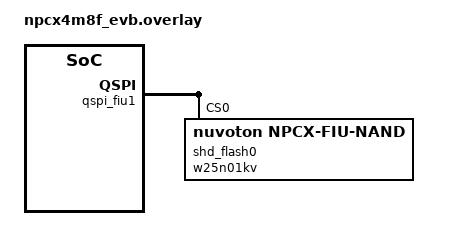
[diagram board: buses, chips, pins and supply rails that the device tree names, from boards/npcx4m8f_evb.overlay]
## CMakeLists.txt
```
# SPDX-License-Identifier: Apache-2.0

cmake_minimum_required(VERSION 3.13.1)

find_package(Zephyr REQUIRED HINTS $ENV{ZEPHYR_BASE})
project(npcx_tests)

target_sources(app PRIVATE src/main.c)
```

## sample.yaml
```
sample:
  description: DMA test suite sample, the simplest Zephyr
    application
  name: DMA
common:
    tags: introduction
    integration_platforms:
      - npcx4m8f_evb
    harness: console
    harness_config:
      type: one_line
      regex:
        - "Hello World! (.*)"
```

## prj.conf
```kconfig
CONFIG_SERIAL=y
CONFIG_NATIVE_UART_0_ON_STDINOUT=y
CONFIG_UART_INTERRUPT_DRIVEN=y
CONFIG_PRINTK=y
CONFIG_SHELL=y
CONFIG_SHELL_PROMPT_UART="ec:~$ "
CONFIG_LOG=y
CONFIG_EVENTS=y
CONFIG_DMA=y
```

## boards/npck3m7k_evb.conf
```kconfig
# Add your own Kconfig option for npck3m7k_evb here
CONFIG_SERIAL=y
CONFIG_NATIVE_UART_0_ON_STDINOUT=y
CONFIG_PRINTK=y
CONFIG_UART_INTERRUPT_DRIVEN=y
CONFIG_SHELL=y
CONFIG_SHELL_PROMPT_UART="ec:~$ "
CONFIG_LOG=y
CONFIG_DMA=y
```

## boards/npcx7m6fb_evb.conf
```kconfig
# Add your own Kconfig option for npcx4m8f_evb here
CONFIG_SERIAL=y
CONFIG_NATIVE_UART_0_ON_STDINOUT=y
CONFIG_PRINTK=y
CONFIG_UART_INTERRUPT_DRIVEN=y
CONFIG_SHELL=y
CONFIG_SHELL_PROMPT_UART="ec:~$ "
CONFIG_LOG=y
CONFIG_DMA=y
```

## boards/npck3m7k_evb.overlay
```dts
/*
 * Copyright (c) 2023 Nuvoton Technology Corporation.
 *
 * SPDX-License-Identifier: Apache-2.0
 */

/ {
	chosen {
		zephyr,shell-uart = &uart1;
	};

	aliases {
		/* For samples/drivers/spi_flash */
		taf-flash = &shd_flash;
	};
};


&dma0 {
	status = "okay";
};
```

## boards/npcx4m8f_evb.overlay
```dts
/*
 * Copyright (c) 2023 Nuvoton Technology Corporation.
 *
 * SPDX-License-Identifier: Apache-2.0
 */

/ {
	chosen {
		zephyr,shell-uart = &uart1;
	};

	aliases {
		/* For samples/drivers/spi_flash */
		flash-dev = &shd_flash0;
	};
};

/* Add nand flash */
&qspi_fiu1 {
	status = "okay";
	en-direct-access-2dev;

	shd_flash0: w25n01kv@0 {
		compatible ="nuvoton,npcx-fiu-nand";
		size = <0x40000000>; /* 1G bits = 128 Mbytes */
		max-timeout = <86784>;
		reg = <0>;

		status = "okay";

		/* quad spi bus configuration of nor flash device */
		qspi-flags = <(NPCX_QSPI_SW_CS0 | NPCX_QSPI_SEC_FLASH_SL)>;
		mapped-addr = <0x68000000>;
		pinctrl-0 = <&fiu_ext_io0_io1_clk_cs_gpa4_96_a2_a0
			     &fiu_ext_quad_io2_io3_gp93_a7
			     &ext_flash_tris_off
				 &ext_flash_cs1_sl>;
		pinctrl-names = "default";

		/* Read,Write mode */
		read-mode  = "QUAD_IO";
		write-mode = "QUAD_OUTPUT";
		en-dra;

		/* nand flash information */
		page-size = <0x800>;    /* 1 page = 2048 bytes*/
		page-num = <0x10000>;
		block-size = <0x20000>; /* 1 block = 64 pages = 128K */
		block-num = <0x400>;

	};
};

&dma0 {
	status = "okay";
};

&dma1 {
	status = "okay";
};
```

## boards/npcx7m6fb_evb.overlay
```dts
/*
 * Copyright (c) 2023 Nuvoton Technology Corporation.
 *
 * SPDX-License-Identifier: Apache-2.0
 */

/ {
	chosen {
		zephyr,shell-uart = &uart1;
	};

	aliases {
		/* For samples/drivers/spi_flash */
		spi-flash0 = &int_flash;
		spi-flash1 = &ext_flash;
	};
};

&qspi_fiu0 {
	status = "okay";

	ext_flash: w25q256f@1 {
		compatible ="nuvoton,npcx-fiu-nor";
		/* 4194304 bits = 512K Bytes */
		size = <0x400000>;
		reg = <1>;
		status = "okay";

		/* quad spi bus configuration of nor flash device */
		qspi-flags = <NPCX_QSPI_SW_CS1>;
		mapped-addr = <0x64000000>;
		pinctrl-0 = <&fiu_ext_io0_io1_clk_cs_gpa4_96_a2_a0
			     &ext_flash_tris_off>;
		pinctrl-names = "default";
	};
};

&dma0 {
	status = "okay";
};
```

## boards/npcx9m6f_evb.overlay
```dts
/*
 * Copyright (c) 2023 Nuvoton Technology Corporation.
 *
 * SPDX-License-Identifier: Apache-2.0
 */

/ {
	chosen {
		zephyr,shell-uart = &uart1;
	};

	aliases {
		/* For samples/drivers/spi_flash */
		spi-flash0 = &int_flash;
		spi-flash1 = &ext_flash;
	};
};

&qspi_fiu0 {
	status = "okay";

	ext_flash: w25q256f@1 {
		compatible ="nuvoton,npcx-fiu-nor";
		/* 4194304 bits = 512K Bytes */
		size = <0x400000>;
		reg = <1>;
		status = "okay";

		/* quad spi bus configuration of nor flash device */
		qspi-flags = <NPCX_QSPI_SW_CS1>;
		mapped-addr = <0x64000000>;
		pinctrl-0 = <&fiu_ext_io0_io1_clk_cs_gpa4_96_a2_a0
			     &ext_flash_tris_off>;
		pinctrl-names = "default";
	};
};

&dma0 {
	dma: dma@40011000 {
		compatible = "nuvoton,npcx-dma";
		reg = <0x40011000 0x1000>;

		mapped-addr = <0x68000000>;

		#dma-cells = <1>;
		#address-cells = <1>;
		#size-cells = <0>;
		status = "okay";
	};
};
```

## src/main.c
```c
/*
 * Copyright (c) 2023 Nuvoton Technology Corporation.
 *
 * SPDX-License-Identifier: Apache-2.0
 */
#include <stdlib.h>
#include <zephyr/device.h>
#include <zephyr/drivers/dma.h>
#include <zephyr/../../drivers/dma/dma_npcx.h>
#include <zephyr/kernel.h>
#include <zephyr/shell/shell.h>

#define LOG_LEVEL LOG_LEVEL_INF
#include <zephyr/logging/log.h>
LOG_MODULE_REGISTER(main);

#define MAX_ARGUMNETS	3
#define MAX_ARGU_SIZE	10
#define TRANSFER_SIZE	1024

#define TASK_STACK_SIZE	1024
#define PRIORITY	7

#define DMA0_CTLER			DT_NODELABEL(dma0)
#ifdef CONFIG_SOC_SERIES_NPCX4
#define DMA1_CTLER			DT_NODELABEL(dma1)
#endif

static uint8_t arguments[MAX_ARGUMNETS][MAX_ARGU_SIZE];
struct k_event dma_event;
static struct k_thread temp_id;

K_THREAD_STACK_DEFINE(temp_stack, TASK_STACK_SIZE);

const struct shell *sh_ptr;

/* Get device from device tree */
static const struct device *const dma_devices[] = {
	DEVICE_DT_GET(DMA0_CTLER),
	#ifdef CONFIG_SOC_SERIES_NPCX4
	DEVICE_DT_GET(DMA1_CTLER),
	#endif
};

#define NUM_DMA_DEVICE ARRAY_SIZE(dma_devices)
#define MRAM				0x100B0000	/* buttom of code ram */
#ifdef CONFIG_SOC_SERIES_NPCK3
	#define	INT_FLASH_BASE1_ADDR	0x60000000	/* private flash */
	#define	FLASH_BASE1_ADDR	0x70000000	/* shared flash */
	#define BACKUP_FLASH_BASE1_ADDR 0x80000000	/* Back-up flash */
#elif CONFIG_SOC_SERIES_NPCX4
	#define INT_FLASH_BASE1_ADDR	0x60000000	/* private flash */
	#define FLASH_BASE1_ADDR	0x68000000	/* external flash */
#endif

/* data transfer config */
static const uint8_t align_val = 16;
static struct device *dev;
static uint8_t ch;
static struct dma_config dma_cfg = { 0 };
static struct dma_block_config dma_block_cfg = { 0 };
static struct dma_config dma_cfg1 = { 0 };
static struct dma_block_config dma_block_cfg1 = { 0 };

/* mem to mem config */
static uint8_t GDMAMemPool[MOVE_SIZE + 4] __aligned(16);
/* power save config */
static uint8_t GDMAMemPool2[MOVE_SIZE + 4] __aligned(16);
static uint8_t passFlag;

/* flash to mem config */
static uint32_t gdma_test_flash_src[] = {
	INT_FLASH_BASE1_ADDR,
	FLASH_BASE1_ADDR,
	#ifdef CONFIG_SOC_SERIES_NPCK3
	BACKUP_FLASH_BASE1_ADDR
	#endif
};
/* gdmaerr config */
#define INVALID_ADDR	0x10050000

/* isr event */
static uint32_t gdma_data_check(const struct device *dev, const uint8_t channel)
{
	struct dma_reg *const inst = HAL_INSTANCE(dev, channel);
	uint8_t tws = GET_FIELD(inst->CONTROL, NPCX_DMACTL_TWS);
	uint8_t bme = GET_BIT(inst->CONTROL, NPCX_DMACTL_BME);
	uint8_t dadir = GET_BIT(inst->CONTROL, NPCX_DMACTL_DADIR);
	uint8_t sadir = GET_BIT(inst->CONTROL, NPCX_DMACTL_SADIR);
	uint32_t tcnt = inst->TCNT;
	uint32_t src_ = inst->SRCB;
	uint32_t dst_ = inst->DSTB;
	uint32_t ctcnt = inst->CTCNT;
	volatile uint8_t *dst_B, *src_B;
	volatile uint16_t *dst_W, *src_W;
	volatile uint32_t *dst_DW, *src_DW;

	dst_B = (uint8_t *) dst_;
	src_B = (uint8_t *) src_;
	dst_W = (uint16_t *) dst_;
	src_W = (uint16_t *) src_;
	dst_DW = (uint32_t *) dst_;
	src_DW = (uint32_t *) src_;

	if (IS_BIT_SET(inst->CONTROL, NPCX_DMACTL_TC)) {
		LOG_INF("[FAIL][GDMA] ch%d GDMA TC couldn't clear\r\n", channel);
	}
	if (IS_BIT_SET(inst->CONTROL, NPCX_DMACTL_GDMAEN)) {
		LOG_INF("[FAIL][GDMA] ch%d GDMA EN is Enable\r\n", channel);
	}
	if (ctcnt) {
		LOG_INF("[FAIL][GDMA] ch%d CTCNT not completed \r\n", channel);
	}

	if (bme) {
		tcnt <<= 2;
	}
	switch (tws) {
	case 0:
		LOG_INF("Byte mode | ");
		LOG_INF("src | %p: %hhx dst | %p: %hhx \r\n",
			(void *)src_B, *src_B, (void *)dst_B, *dst_B);
		do {
			if (*dst_B != *src_B) {
				break;
			}
			if (dadir)
				dst_B -= 1;
			else
				dst_B += 1;
			if (sadir)
				src_B -= 1;
			else
				src_B += 1;
			tcnt--;
		} while (tcnt != 0);
		break;
	case 1:
		LOG_INF("Word mode | ");
		LOG_INF("src | %p: %hx dst | %p: %hx \r\n",
			(void *)src_W, *src_W, (void *)dst_W, *dst_W);
		do {
			if (*dst_W != *src_W) {
				break;
			}
			if (dadir)
				dst_W -= 1;
			else
				dst_W += 1;
			if (sadir)
				src_W -= 1;
			else
				src_W += 1;
			tcnt--;
		} while (tcnt != 0);
		break;
	case 2:
		if (bme) {
			LOG_INF("Double Word mode | Burst Mode");
		} else {
			LOG_INF("Double Word mode | Normal Mode");
		}
		LOG_INF("src %p: %x | dst %p: %x \r\n",
		(void *)src_DW, *src_DW, (void *)dst_DW, *dst_DW);
		do {
			if (*dst_DW != *src_DW) {
				break;
			}
			if (dadir)
				dst_DW -= 1;
			else
				dst_DW += 1;
			if (sadir)
				src_DW -= 1;
			else
				src_DW += 1;
			tcnt--;
		} while (tcnt != 0);
		break;
	}
	return tcnt;
}

static void cb_data_check(const struct device *dma_dev, void *arg,
				uint32_t channel, int status)
{
	if (status < 0) {
		LOG_INF("DMA could not proceed, an error occurred\n");
	}
	LOG_INF("channel : %d", channel);

	if (gdma_data_check(dma_dev, channel)) {
		LOG_INF("[FAIL] Data check");
	} else {
		LOG_INF("[PASS] Data check");
	}
}

static void cb_power_save(const struct device *dma_dev, void *arg,
				uint32_t channel, int status)
{
	if (status < 0) {
		LOG_INF("DMA could not proceed, an error occurred\n");
	}
	LOG_INF("channel : %d", channel);
	struct dma_reg *const inst = HAL_INSTANCE(dma_dev, channel);

	passFlag |= (GET_BIT(inst->CONTROL, NPCX_DMACTL_TC) == 0) << 1;
	if (passFlag == 0b11) {
		LOG_INF("[PASS][GDMA]: ch-%d Power save successful.", channel);
	} else {
		LOG_INF("[FAIL][GDMA]: ch-%d power save failed.", channel);
	}
}
#ifdef CONFIG_SOC_SERIES_NPCK3
static void cb_gdmaerr(const struct device *dma_dev, void *arg,
				uint32_t channel, int status)
{
	if (status < 0) {
		LOG_INF("DMA could not proceed, an error occurred\n");
	}
	if (status == -EIO) {
		LOG_INF("[PASS][GDMA]: channel %d GDMAERR test", channel);
	} else {
		LOG_INF("[FAIL][GDMA]: channel %d GDMAERR test", channel);
	}
}

static void dma_gdmaerr(const struct shell *shell, size_t argc, char **argv)
{
	/* Minimal setting for DMA api */
	dma_cfg.channel_direction = MEMORY_TO_MEMORY;
	dma_cfg.source_data_size = dma_cfg.dest_data_size = 1;
	dma_block_cfg.block_size = MOVE_SIZE;
	dma_block_cfg.source_address = INVALID_ADDR;
	dma_block_cfg.dest_address = MRAM;

	/* isr event */
	dma_cfg.dma_callback = cb_gdmaerr;
	dma_cfg.head_block = &dma_block_cfg;

	if (dma_config(dev, ch, &dma_cfg)) {
		LOG_INF("ERROR: configure\n");
		return;
	}
	if (dma_start(dev, ch)) {
		LOG_INF("ERROR: transfer\n");
		return;
	}
}
#endif

static void check_char_data(const char *tx_d, const char *rx_d, bool enable)
{
	if (strcmp(tx_d, rx_d) != 0) {
		LOG_INF("[FAIL] Data transfer");
	} else {
		LOG_INF("[PASS] Data transfer");
	}
	if (enable) {
		shell_info(sh_ptr, "rx_data : %s", rx_d);
	}
}

static void check_def_value(const struct shell *shell, size_t argc, char **argv)
{
	const uint32_t dma_base = get_dev_base(dev);

	if (DMA_CTL(dma_base, ch) != 0x00
	#ifdef CONFIG_SOC_SERIES_NPCK3
		|| IS_BIT_SET(DMA_CTL(dma_base, ch), NPCX_DMACTL_GDMAERR)
		|| IS_BIT_SET(DMA_CTL(dma_base, ch), NPCX_DMACTL_BUSY_EN)
	#elif CONFIG_SOC_SERIES_NPCX4
		|| IS_BIT_SET(DMA_CTL(dma_base, ch), NPCX_DMACTL_BMDAFIX)
		|| IS_BIT_SET(DMA_CTL(dma_base, ch), NPCX_DMACTL_BMSAFIX)
	#endif
	){
		LOG_INF("[FAIL]Default value");
	} else {
		LOG_INF("[PASS]Default value");
	}
}
static void dma_init(char *dev_num, char *ch_num)
{
	uint8_t dev_n = atoi(dev_num);
	uint8_t ch_n = atoi(ch_num);
	#ifdef CONFIG_SOC_SERIES_NPCX4
	if (dev_n < 2) {
		dev = (void *)dma_devices[dev_n];
	} else {
		LOG_ERR("Only device 0/1 available");
	}
	#else
	if (dev_n == 0) {
		dev = (void *)dma_devices[dev_n];
	} else {
		LOG_ERR("Only device 0 available");
	}
	#endif
	if (ch_n < 2) {
		ch = ch_n;
	} else {
		LOG_ERR("Only channel 0/1 available");
	}
}



int *npcx_power_down_gpd(const struct device *dev, const uint32_t channel,
					uint32_t val0, uint32_t val1)
{
	static int arr[2] = {0};
	const uint32_t dma_base = get_dev_base(dev);
	uint32_t ch0 = channel, ch1 = channel ^ 1;

	/* power down one channel */
	dma_set_power_down(dev, ch0, ENABLE); /* can't write ch0 */
	DMA_SRCB(dma_base, ch0) = val0;
	DMA_SRCB(dma_base, ch1) = val1;

	arr[0] = ((DMA_SRCB(dma_base, ch0)) == val0) ? 1 : 0;
	arr[1] = ((DMA_SRCB(dma_base, ch1)) == val1) ? 1 : 0;

	/* power up channel */
	dma_set_power_down(dev, ch0, DISABLE);

	return arr;
}

static void npcx_power_down_2(const struct shell *shell, size_t argc, char **argv)
{
	uint32_t val1 = 0x11223344, val2 = 0x9ABCDEF0;

	for (int i = 0; i < NUM_DMA_DEVICE; i++) {
		for (uint8_t ch = 0; ch < MAX_DMA_CHANNELS; ch++) {
			int *res = npcx_power_down_gpd(dma_devices[i], ch, val1, val2);

			if (res[0]) {
				LOG_INF("[FAIL][GDMA%d]: GPD%d power down", i, ch);
			} else {
				LOG_INF("[PASS][GDMA%d]: GPD%d power down", i, ch);
			}
			if (res[1]) {
				LOG_INF("[PASS][GDMA%d]: GPD%d still run when GDP%d power down",
					i, ch ^ 1, ch);
			} else {
				LOG_INF("[FAIL][GDMA%d]: GPD%d still run when GDP%d power down",
					i, ch ^ 1, ch);
			}
		}
	}
}

static void npcx_power_save(const struct shell *shell, size_t argc, char **argv)
{
	const uint32_t dma_base = get_dev_base(dev);

	dma_set_power_save(dev, ch, ENABLE);

	memset((uint8_t *)GDMAMemPool, 0, MOVE_SIZE + 4);
	memset((uint8_t *)GDMAMemPool2, 0, MOVE_SIZE + 4);

	/* Minimal setting for DMA api */
	dma_cfg.channel_direction = MEMORY_TO_MEMORY;
	dma_cfg.source_data_size = dma_cfg.dest_data_size = align_val;
	dma_block_cfg.block_size = MOVE_SIZE;
	dma_block_cfg.source_address = (uint32_t)GDMAMemPool;
	dma_block_cfg.dest_address = (uint32_t)GDMAMemPool2;

	for (uint32_t i = 0; i < MOVE_SIZE; i++) {
		*(uint8_t *)(dma_block_cfg.source_address + i) = 0x5a;
		*(uint8_t *)(dma_block_cfg.dest_address + i) = 0xa5;
	}

	/* isr event */
	dma_cfg.dma_callback = cb_power_save;
	dma_cfg.head_block = &dma_block_cfg;

	/* assign gps to dma_cfg reversed */
	dma_cfg.reserved |= GET_BIT(DMA_CTL(dma_base, ch), NPCX_DMACTL_GPS);

	if (dma_config(dev, ch, &dma_cfg)) {
		LOG_INF("ERROR: configure\n");
		return;
	}
	if (dma_start(dev, ch)) {
		LOG_INF("ERROR: transfer\n");
		return;
	}

	DMA_SRCB(dma_base, ch) = 0x9ABCDEF0;
	if (DMA_SRCB(dma_base, ch) != 0x9ABCDEF0) {
		LOG_INF("[FAIL][GDMA]: ch-%d write src address failed.", ch);
	}
	passFlag = 0;

	passFlag |= 1;
	for (uint32_t i = 0; i < MOVE_SIZE; i++) {
		if (GDMAMemPool2[i] != 0xa5) {
			passFlag = 0;
			break;
		}
	}
	dma_set_power_save(dev, ch, DISABLE);
}

/* base on chan_blen_transfer */
static void dma_api_example(const struct shell *shell, size_t argc, char **argv)
{
	sh_ptr = shell;
	/* simple memory(char) to memory(char) example*/
	const char tx_data[] __aligned(align_val) =
		"It is harder to be kind than to be wise........It is harder to ";
	char rx_data[64] __aligned(align_val) = { 0 };

	memset(rx_data, 0, sizeof(rx_data));

	/* Minimal setting for DMA api */
	dma_cfg.channel_direction = MEMORY_TO_MEMORY;
	dma_cfg.source_data_size = dma_cfg.dest_data_size = align_val;
	dma_block_cfg.block_size = sizeof(tx_data);
	dma_block_cfg.source_address = (uint32_t)tx_data;
	dma_block_cfg.dest_address = (uint32_t)rx_data;

	/* isr event */
	dma_cfg.dma_callback = cb_data_check;
	dma_cfg.head_block = &dma_block_cfg;

	shell_info(sh_ptr, "Preparing DMA Controller: Name=%s, Chan_ID=%u", dev->name, ch);

	if (dma_config(dev, ch, &dma_cfg)) {
		LOG_INF("ERROR: configure\n");
		return;
	}
	if (dma_start(dev, ch)) {
		LOG_INF("ERROR: transfer\n");
		return;
	}
	check_char_data(tx_data, rx_data, 1);
}

static void dam_flash_to_ram(const struct shell *shell, size_t argc, char **argv)
{
	uint8_t opt = strtoul(argv[1], NULL, 0);
	uint8_t ram = strtoul(argv[2], NULL, 0);
	uint8_t t_sz = strtoul(argv[3], NULL, 0);

	memset((uint8_t *)MRAM, 0, MOVE_SIZE + 4);
	memset((uint8_t *)GDMAMemPool, 0, MOVE_SIZE + 4);
	uint32_t src, dst;

	src = (uint32_t)(gdma_test_flash_src[opt]);
	dst = ram ?  (uint32_t)MRAM : (uint32_t)GDMAMemPool;

	dma_cfg.channel_direction = MEMORY_TO_MEMORY;
	dma_block_cfg.source_address = src;
	dma_block_cfg.dest_address = dst;
	dma_block_cfg.block_size = MOVE_SIZE + 4;

	dma_cfg.dma_callback = cb_data_check;

	dma_cfg.head_block = &dma_block_cfg;

	dma_cfg.source_data_size = dma_cfg.dest_data_size = t_sz;
	if (dma_config(dev, ch, &dma_cfg)) {
		LOG_INF("ERROR: configure\n");
		return;
	}
	if (dma_start(dev, ch)) {
		LOG_INF("ERROR: transfer\n");
		return;
	}

}

static void dam_ram_to_ram(const struct shell *shell, size_t argc, char **argv)
{
	sh_ptr = shell;
	uint8_t ram, t_sz;

	ram = strtoul(argv[1], NULL, 0);
	t_sz = strtoul(argv[2], NULL, 0);

	dma_cfg.channel_direction = MEMORY_TO_MEMORY;
	memset((uint8_t *) GDMAMemPool, 0, MOVE_SIZE + 4);
	memset((uint8_t *) MRAM, 0, MOVE_SIZE + 4);

	dma_block_cfg.block_size = MOVE_SIZE + 4;
	if (ram) {
		dma_block_cfg.source_address = (uint32_t)MRAM;
		dma_block_cfg.dest_address = (uint32_t)GDMAMemPool;
	} else {
		dma_block_cfg.source_address = (uint32_t)GDMAMemPool;
		dma_block_cfg.dest_address = (uint32_t)MRAM;
	}
	for (uint32_t i = 0; i < MOVE_SIZE; i++) {
		*(uint8_t *)(dma_block_cfg.source_address + i) =
		*(uint8_t *)(INT_FLASH_BASE1_ADDR + i);
	}

	dma_cfg.dma_callback = cb_data_check;

	dma_cfg.head_block = &dma_block_cfg;

	dma_cfg.source_data_size = dma_cfg.dest_data_size = t_sz;
	if (dma_config(dev, ch, &dma_cfg)) {
		LOG_INF("ERROR: configure\n");
		return;
	}
	if (dma_start(dev, ch)) {
		LOG_INF("ERROR: transfer\n");
		return;
	}
}
/* try use thread to implement parallel */
static void sync_data_transfer(const struct shell *shell, size_t argc, char **argv)
{
	sh_ptr = shell;
	uint8_t opt = strtoul(argv[1], NULL, 0);
	const struct device *dev = dma_devices[0], *dev1 = dma_devices[0];
	uint8_t dev1_channel = 0, dev2_channel = 0;

	switch (opt) {
	case 1:
		dev = dma_devices[0];
		dev1 = dma_devices[1];
		dev1_channel = 0;
		dev2_channel = 1;
		break;
	case 2:
		dev = dma_devices[0];
		dev1 = dma_devices[1];
		dev1_channel = 1;
		dev2_channel = 0;
		break;
	case 3:
		dev = dma_devices[0];
		dev1 = dma_devices[1];
		dev1_channel = dev2_channel = 0;
		break;
	case 4:
		dev = dma_devices[0];
		dev1 = dma_devices[1];
		dev1_channel = dev2_channel = 1;
		break;
	case 5:
		dev = dev1 = dma_devices[0];
		dev1_channel = 0;
		dev2_channel = 1;
		break;
	case 6:
		dev = dev1 = dma_devices[1];
		dev1_channel = 0;
		dev2_channel = 1;
		break;
	}
	const char tx_da[] __aligned(16) =
		"It is harder to be kind than to be wise........It is "
		"harder to be kind than to be wise........It is harder to b";
	char rx_da[128] __aligned(16) = { 0 };

	const char tx_da1[] __aligned(16) =
		"........wise be to than kind be to harder is It";
	char rx_da1[48] __aligned(16) = { 0 };

	memset(rx_da, 0, sizeof(rx_da));
	memset(rx_da1, 0, sizeof(rx_da1));

	dma_cfg.channel_direction = dma_cfg1.channel_direction = MEMORY_TO_MEMORY;
	dma_cfg.source_data_size = dma_cfg.dest_data_size = 1;
	dma_cfg1.source_data_size = dma_cfg1.dest_data_size = 1;

	dma_block_cfg.block_size = sizeof(tx_da);
	dma_block_cfg1.block_size = sizeof(tx_da1);

	dma_block_cfg.source_address = (uint32_t)tx_da;
	dma_block_cfg.dest_address = (uint32_t)rx_da;
	dma_cfg.head_block = &dma_block_cfg;
	dma_cfg.dma_callback = cb_data_check;

	dma_block_cfg1.source_address = (uint32_t)tx_da1;
	dma_block_cfg1.dest_address = (uint32_t)rx_da1;
	dma_cfg1.head_block = &dma_block_cfg1;
	dma_cfg1.dma_callback = cb_data_check;

	if (dma_config(dev, dev1_channel, &dma_cfg)) {
		LOG_INF("ERROR: configure\n");
		return;
	}
	if (dma_config(dev1, dev2_channel, &dma_cfg1)) {
		LOG_INF("ERROR: configure\n");
		return;
	}
	if (dma_start(dev, dev1_channel)) {
		LOG_INF("ERROR: transfer\n");
		return;
	}
	if (dma_start(dev1, dev2_channel)) {
		LOG_INF("ERROR: transfer\n");
		return;
	}
	check_char_data(tx_da, rx_da, 1);
	check_char_data(tx_da1, rx_da1, 1);
}

static void dma_validation_func(void *dummy1, void *dummy2, void *dummy3)
{
	uint32_t events;

	k_event_init(&dma_event);

	while (true) {
		events = k_event_wait(&dma_event, 0xFFF, true, K_FOREVER);
		switch (events) {
		case 0x008:
			if (!strcmp("init", arguments[0])) {
				LOG_INF("DMA init device and channel");
				dma_init(arguments[1], arguments[2]);
			}
			break;
		default:
			LOG_INF("Error command\n");
			break;
		}
	}
}

int dma_command(const struct shell *shell, size_t argc, char **argv)
{
	int i, evt;

	evt = 1;
	for (evt = 1, i = 1; i < argc; i++) {
		strcpy(arguments[i - 1], argv[i]);
		evt <<= 1;
	}
	k_event_post(&dma_event, evt);
	return 0;
}


void test_dma_init(void)
{
	LOG_INF("--- CI20 Zephyr DMA Driver Validation abc ---");
	for (int i = 0 ; i < NUM_DMA_DEVICE; i++) {
		if (!device_is_ready(dma_devices[i])) {
			LOG_ERR("dma device %s is not ready", dma_devices[i]->name);
			return;
		}
		LOG_INF("dma device [%d]:%s is ready", i, dma_devices[i]->name);
	}

	k_thread_create(&temp_id, temp_stack, TASK_STACK_SIZE, dma_validation_func,
		NULL, NULL, NULL, PRIORITY, K_INHERIT_PERMS, K_FOREVER);
	k_thread_name_set(&temp_id, "DMA Validation");
	k_thread_start(&temp_id);
}

SHELL_STATIC_SUBCMD_SET_CREATE(
	sub_dma, SHELL_CMD_ARG(ex, NULL, "dma ex: dma api test",
		dma_api_example, 1, 0),
	SHELL_CMD_ARG(gpd, NULL, "dma gpd: dma power down test",
		npcx_power_down_2, 1, 0),
	SHELL_CMD_ARG(gps, NULL, "dma gps: dma power save test",
		npcx_power_save, 1, 0),
	SHELL_CMD_ARG(sync, NULL, "dma sync <1~6>",
		sync_data_transfer, 2, 0),
	SHELL_CMD_ARG(c3, NULL, "dma c3 init <dev> <channel>: choose dev and channel",
		dma_command, 4, 0),
	SHELL_CMD_ARG(def, NULL, "dma def: check default value of register",
		check_def_value, 1, 0),
	#ifdef CONFIG_SOC_SERIES_NPCK3
	SHELL_CMD_ARG(err, NULL, "dma err: gdmaerr test",
		dma_gdmaerr, 1, 0),
	#endif
	SHELL_CMD_ARG(ram, NULL, "dma ram <0/1> <1B/1W/1DW/Burst>",
		dam_ram_to_ram, 3, 0),
	SHELL_CMD_ARG(flash, NULL, "dma flash <int/ext/bkp flash> <GDMAMemPool/code ram>"
		"<1B/1W/1DW/Burst>", dam_flash_to_ram, 4, 0),
	SHELL_SUBCMD_SET_END /* Array terminated. */
);
SHELL_CMD_REGISTER(dma, &sub_dma, "nuvoton dma validation", NULL);

/* Main entry */
int main(void)
{
	test_dma_init();

	return 0;
}
```

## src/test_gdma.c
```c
/*
 * Copyright (c) 2023 Nuvoton Technology Corporation.
 *
 * SPDX-License-Identifier: Apache-2.0
 */

#include <stdlib.h>

#include <zephyr/device.h>
#include <zephyr/drivers/dma.h>
#include <zephyr/kernel.h>
#include <zephyr/shell/shell.h>
#include <zephyr/random/rand32.h>
#include "../../zephyr/drivers/dma/dma_npcx.h"

#define LOG_LEVEL LOG_LEVEL_INF
#include <zephyr/logging/log.h>

LOG_MODULE_REGISTER(gdma);

#define MAX_ARGUMNETS	3
#define MAX_ARGU_SIZE	10
#define TRANSFER_SIZE	1024

#define TASK_STACK_SIZE	1024
#define PRIORITY	7

#define DMA0_CTLER			DT_NODELABEL(dma0)
#ifdef CONFIG_SOC_SERIES_NPCX4
#define DMA1_CTLER			DT_NODELABEL(dma1)
#endif

static uint8_t arguments[MAX_ARGUMNETS][MAX_ARGU_SIZE];
struct k_event dma_event;
static struct k_thread temp_id;

K_THREAD_STACK_DEFINE(temp_stack, TASK_STACK_SIZE);


/* Get device from device tree */
static const struct device *const dma_devices[] = {
	DEVICE_DT_GET(DMA0_CTLER),
	#ifdef CONFIG_SOC_SERIES_NPCX4
	DEVICE_DT_GET(DMA1_CTLER),
	#endif
};

#define NUM_DMA_DEVICE ARRAY_SIZE(dma_devices)
#define cal_flash_type_num(ADDR)	ARRAY_SIZE(ADDR)
#define MRAM				0x100B0000	/* buttom of code ram */
#define INT_FLASH_BASE1_ADDR		0x60000000	/* private flash */
#define FLASH_BASE1_ADDR		0x68000000	/* shared flash */


/* data transfer config */
static const uint8_t align_val = 16;
static struct device *dev;
static uint8_t ch;
static struct dma_config dma_cfg = { 0 };
static struct dma_block_config dma_block_cfg = { 0 };
static struct dma_config dma_cfg1 = { 0 };
static struct dma_block_config dma_block_cfg1 = { 0 };

/* mem to mem config */
static uint32_t GDMAMemPool[MOVE_SIZE + 4] __aligned(16);

/* flash to mem config */
static uint32_t gdma_test_flash_src[] = {
	INT_FLASH_BASE1_ADDR,
	FLASH_BASE1_ADDR,
};

static uint32_t gdma_data_check(const struct device *dev, const uint8_t channel)
{
	struct dma_reg *const inst = HAL_INSTANCE(dev, channel);

	uint8_t tws = GET_FIELD(inst->CONTROL, NPCX_DMACTL_TWS);
	uint8_t bme = GET_BIT(inst->CONTROL, NPCX_DMACTL_BME);
	uint8_t dadir = GET_BIT(inst->CONTROL, NPCX_DMACTL_DADIR);
	uint8_t sadir = GET_BIT(inst->CONTROL, NPCX_DMACTL_SADIR);
	volatile uint32_t tcnt = inst->TCNT;
	uint32_t src_ = inst->SRCB;
	uint32_t dst_ = inst->DSTB;
	uint32_t ctcnt = inst->CTCNT;

	volatile uint8_t *dst_B, *src_B;
	volatile uint16_t *dst_W, *src_W;
	volatile uint32_t *dst_DW, *src_DW;

	dst_B = (uint8_t *) dst_;
	src_B = (uint8_t *) src_;
	dst_W = (uint16_t *) dst_;
	src_W = (uint16_t *) src_;
	dst_DW = (uint32_t *) dst_;
	src_DW = (uint32_t *) src_;

	if (IS_BIT_SET(inst->CONTROL, NPCX_DMACTL_TC)) {
		LOG_INF("[FAIL][GDMA] ch%d GDMA TC couldn't clear\r\n", channel);
	}
	if (IS_BIT_SET(inst->CONTROL, NPCX_DMACTL_GDMAEN)) {
		LOG_INF("[FAIL][GDMA] ch%d GDMA EN is Enable\r\n", channel);
	}
	if (ctcnt) {
		LOG_INF("[FAIL][GDMA] ch%d CTCNT not completed \r\n", channel);
	}

	if (bme) {
		tcnt <<= 2;
		LOG_INF("data_check : tcnt %d", tcnt);
	}

	switch (tws) {
	case 0:
		LOG_INF("Byte mode | ");
		LOG_INF("src | %p: %hhx dst | %p: %hhx \r\n",
			(void *)src_B, *src_B, (void *)dst_B, *dst_B);
		do {
			if (*dst_B != *src_B) {
				break;
			}
			if (dadir)
				dst_B -= 1;
			else
				dst_B += 1;
			if (sadir)
				src_B -= 1;
			else
				src_B += 1;
			tcnt--;
		} while (tcnt != 0);
		break;
	case 1:
		LOG_INF("Word mode | ");
		LOG_INF("src | %p: %hx dst | %p: %hx \r\n",
			(void *)src_W, *src_W, (void *)dst_W, *dst_W);
		do {
			if (*dst_W != *src_W) {
				break;
			}
			if (dadir)
				dst_W -= 1;
			else
				dst_W += 1;
			if (sadir)
				src_W -= 1;
			else
				src_W += 1;
			tcnt--;
		} while (tcnt != 0);
		break;
	case 2:
	case 3:
		if (bme) {
			LOG_INF("Double Word mode | Burst Mode");
			LOG_INF("src %p: %x | dst %p: %x \r\n",
				(void *)src_DW, *src_DW, (void *)dst_DW, *dst_DW);
			do {
				if (*dst_DW != *src_DW) {
					break;
				}
				if (dadir)
					dst_DW -= 1;
				else
					dst_DW += 1;
				if (sadir)
					src_DW -= 1;
				else
					src_DW += 1;
				tcnt--;
			} while (tcnt != 0);
		} else {
			LOG_INF("Double Word mode | Normal Mode");
			LOG_INF("src %p: %x | dst %p: %x \r\n",
				(void *)src_DW, *src_DW, (void *)dst_DW, *dst_DW);
			do {
				if (*dst_DW != *src_DW) {
					break;
				}
				if (dadir)
					dst_DW -= 1;
				else
					dst_DW += 1;
				if (sadir)
					src_DW -= 1;
				else
					src_DW += 1;
				tcnt--;
			} while (tcnt != 0);
		}
		break;
	}
	LOG_INF("data_check : tcnt %d", tcnt);
	return tcnt;
}
static void check_char_data(const char *tx_data, const char *rx_data, bool enable)
{
	if (strcmp(tx_data, rx_data) != 0) {
		LOG_INF("[FAIL] Data transfer");
	} else {
		LOG_INF("[PASS] Data transfer");
	}
	if (enable) {
		LOG_INF("rx_data : %s", rx_data);
	}
}
static void dma_init(char *dev_num, char *ch_num)
{
	uint8_t dev_n = atoi(dev_num);
	uint8_t ch_n = atoi(ch_num);

	if (dev_n < 2) {
		dev = (void *)dma_devices[dev_n];
	} else {
		LOG_ERR("Only device 0/1 available");
	}
	if (ch_n < 2) {
		ch = ch_n;
	} else {
		LOG_ERR("Only channel 0/1 available");
	}
}

/* isr event */
static void cb_data_check(const struct device *dma_dev, void *arg,
				uint32_t channel, int status)
{
	if (status < 0) {
		LOG_INF("DMA could not proceed, an error occurred\n");
	}
	LOG_INF("channel : %d", channel);

	if (gdma_data_check(dma_dev, channel)) {
		LOG_INF("[FAIL] Data check");
	} else {
		LOG_INF("[PASS] Data check");
	}
}

int *npcx_power_down_gpd(const struct device *dev, const uint32_t channel,
					uint32_t val0, uint32_t val1)
{
	static int arr[2] = {0};
	const uint32_t dma_base = get_dev_base(dev);
	uint32_t ch0 = channel, ch1 = channel ^ 1;

	/* power down one channel */
	dma_set_power_down(dev, ch0, ENABLE); /* can't write ch0 */
	DMA_SRCB(dma_base, ch0) = val0;
	DMA_SRCB(dma_base, ch1) = val1;

	arr[0] = ((DMA_SRCB(dma_base, ch0)) == val0) ? 1 : 0;
	arr[1] = ((DMA_SRCB(dma_base, ch1)) == val1) ? 1 : 0;

	/* power up channel */
	dma_set_power_down(dev, ch0, DISABLE);

	return arr;
}

static void npcx_power_down_2(void)
{
	uint32_t val1 = 0x11223344, val2 = 0x9ABCDEF0;

	for (int i = 0; i < NUM_DMA_DEVICE; i++) {
		for (uint8_t ch = 0; ch < MAX_DMA_CHANNELS; ch++) {
			int *res = npcx_power_down_gpd(dma_devices[i], ch, val1, val2);

			if (res[0]) {
				LOG_INF("[FAIL][GDMA%d]: GPD%d power down", i, ch);
			} else {
				LOG_INF("[PASS][GDMA%d]: GPD%d power down", i, ch);
			}
			if (res[1]) {
				LOG_INF("[PASS][GDMA%d]: GPD%d still run when GDP%d power down",
					i, ch ^ 1, ch);
			} else {
				LOG_INF("[FAIL][GDMA%d]: GPD%d still run when GDP%d power down",
					i, ch ^ 1, ch);
			}
		}
	}
}

/* base on chan_blen_transfer */
static void dma_npcx_api_example(void)
{
	/* simple memory(char) to memory(char) example*/
	const char tx_data[] __aligned(align_val) =
		"It is harder to be kind than to be wise........It is harder to ";
	char rx_data[64] __aligned(align_val) = { 0 };
	memset(rx_data, 0, sizeof(rx_data));

	/* Minimal setting for DMA api */
	dma_cfg.channel_direction = MEMORY_TO_MEMORY;
	dma_cfg.source_data_size = dma_cfg.dest_data_size = align_val;
	dma_block_cfg.block_size = sizeof(tx_data);
	dma_block_cfg.source_address = (uint32_t)tx_data;
	dma_block_cfg.dest_address = (uint32_t)rx_data;

	/* isr event */
	dma_cfg.dma_callback = cb_data_check;
	dma_cfg.head_block = &dma_block_cfg;

	LOG_INF("Preparing DMA Controller: Name=%s, Chan_ID=%u", dev->name, ch);

	if (dma_config(dev, ch, &dma_cfg)) {
		LOG_INF("ERROR: configure\n");
		return;
	}
	if (dma_start(dev, ch)) {
		LOG_INF("ERROR: transfer\n");
		return;
	}
	check_char_data(tx_data, rx_data, 1);
	LOG_INF("rx_data size %d", sizeof(rx_data));
}

static void dam_flash_to_ram(char *src_set, char *dst_set, char *t_sz_set)
{
	uint8_t opt = atoi(src_set), ram = atoi(dst_set);
	uint8_t t_sz = atoi(t_sz_set);

	memset((uint8_t *)MRAM, 0, MOVE_SIZE + 4);
	memset((uint8_t *)GDMAMemPool, 0, MOVE_SIZE + 4);
	uint32_t src, dst;

	src = (uint32_t)(gdma_test_flash_src[opt]);
	dst = ram ?  (uint32_t)MRAM : (uint32_t)GDMAMemPool;

	dma_cfg.channel_direction = MEMORY_TO_MEMORY;
	dma_block_cfg.source_address = src;
	dma_block_cfg.dest_address = dst;
	dma_block_cfg.block_size = MOVE_SIZE + 4;

	dma_cfg.dma_callback = cb_data_check;

	dma_cfg.head_block = &dma_block_cfg;

	dma_cfg.source_data_size = dma_cfg.dest_data_size = t_sz;
	if (dma_config(dev, ch, &dma_cfg)) {
		LOG_INF("ERROR: configure\n");
		return;
	}
	if (dma_start(dev, ch)) {
		LOG_INF("ERROR: transfer\n");
		return;
	}

}

static void dam_ram_to_ram(char *ram_set, char *t_sz_set)
{
	uint8_t ram, t_sz;

	ram = atoi(ram_set);
	t_sz = atoi(t_sz_set);

	dma_cfg.channel_direction = MEMORY_TO_MEMORY;
	memset((uint8_t *) GDMAMemPool, 0, MOVE_SIZE + 4);
	memset((uint8_t *) MRAM, 0, MOVE_SIZE + 4);

	dma_block_cfg.block_size = MOVE_SIZE + 4;
	if (ram) {
		dma_block_cfg.source_address = (uint32_t)MRAM;
		dma_block_cfg.dest_address = (uint32_t)GDMAMemPool;
	} else {
		dma_block_cfg.source_address = (uint32_t)GDMAMemPool;
		dma_block_cfg.dest_address = (uint32_t)MRAM;
	}
	for (uint32_t i = 0; i < MOVE_SIZE; i++) {
		*(uint8_t *)(dma_block_cfg.source_address + i) =
		*(uint8_t *)(INT_FLASH_BASE1_ADDR + i);
	}

	dma_cfg.dma_callback = cb_data_check;

	dma_cfg.head_block = &dma_block_cfg;

	dma_cfg.source_data_size = dma_cfg.dest_data_size = t_sz;
	if (dma_config(dev, ch, &dma_cfg)) {
		LOG_INF("ERROR: configure\n");
		return;
	}
	if (dma_start(dev, ch)) {
		LOG_INF("ERROR: transfer\n");
		return;
	}
}
/* try use thread to implement parallel */
static void sync_data_transfer(char *option)
{
	uint8_t opt = atoi(option);
	const struct device *dev = dma_devices[0], *dev1 = dma_devices[0];
	uint8_t dev1_channel = 0, dev2_channel = 0;

	switch (opt) {
	case 1:
		dev = dma_devices[0];
		dev1 = dma_devices[1];
		dev1_channel = 0;
		dev2_channel = 1;
		break;
	case 2:
		dev = dma_devices[0];
		dev1 = dma_devices[1];
		dev1_channel = 1;
		dev2_channel = 0;
		break;
	case 3:
		dev = dma_devices[0];
		dev1 = dma_devices[1];
		dev1_channel = dev2_channel = 0;
		break;
	case 4:
		dev = dma_devices[0];
		dev1 = dma_devices[1];
		dev1_channel = dev2_channel = 1;
		break;
	case 5:
		dev = dma_devices[0];
		dev1 = dma_devices[0];
		dev1_channel = 0;
		dev2_channel = 1;
		break;
	case 6:
		dev = dev1 = dma_devices[1];
		dev1_channel = 0;
		dev2_channel = 1;
		break;
	}
	const char tx_data[] __aligned(16) =
		"It is harder to be kind than to be wise........It is "
		"harder to be kind than to be wise........It is harder to b";
	char rx_data[128] __aligned(16) = { 0 };

	const char tx_data1[] __aligned(16) =
		"........wise be to than kind be to harder is It";
	char rx_data1[48] __aligned(16) = { 0 };

	memset(rx_data, 0, sizeof(rx_data));
	memset(rx_data1, 0, sizeof(rx_data1));

	dma_cfg.channel_direction = dma_cfg1.channel_direction = MEMORY_TO_MEMORY;
	dma_cfg.source_data_size = dma_cfg.dest_data_size = 2;
	dma_cfg1.source_data_size = dma_cfg1.dest_data_size = 2;

	dma_block_cfg.block_size = sizeof(tx_data);
	dma_block_cfg1.block_size = sizeof(tx_data1);

	dma_block_cfg.source_address = (uint32_t)tx_data;
	dma_block_cfg.dest_address = (uint32_t)rx_data;
	dma_cfg.head_block = &dma_block_cfg;
	dma_cfg.dma_callback = cb_data_check;

	dma_block_cfg1.source_address = (uint32_t)tx_data1;
	dma_block_cfg1.dest_address = (uint32_t)rx_data1;
	dma_cfg1.head_block = &dma_block_cfg1;
	dma_cfg1.dma_callback = cb_data_check;

	if (dma_config(dev, dev1_channel, &dma_cfg)) {
		LOG_INF("ERROR: configure\n");
		return;
	}
	if (dma_config(dev1, dev2_channel, &dma_cfg1)) {
		LOG_INF("ERROR: configure\n");
		return;
	}
	if (dma_start(dev, dev1_channel)) {
		LOG_INF("ERROR: transfer\n");
		return;
	}
	if (dma_start(dev1, dev2_channel)) {
		LOG_INF("ERROR: transfer\n");
		return;
	}
	check_char_data(tx_data, rx_data, 1);
	check_char_data(tx_data1, rx_data1, 1);
}

static void dma_validation_func(void *dummy1, void *dummy2, void *dummy3)
{
	uint32_t events;
	k_event_init(&dma_event);

	while (true) {
		events = k_event_wait(&dma_event, 0xFFF, true, K_FOREVER);
		switch (events) {
		case 0x001: /* no argu */
			dma_npcx_api_example();
			break;
		case 0x002:
			if (!strcmp("gpd", arguments[0])) {
				LOG_INF("DMA power down gpd test");
				npcx_power_down_2();
			}
			break;
		case 0x004:
			if (!strcmp("sync", arguments[0])) {
				LOG_INF("sync data transfer");
				sync_data_transfer(arguments[1]);
			}
			break;
		case 0x008:
			if (!strcmp("ram", arguments[0])) {
				LOG_INF("RAM to RAM");
				dam_ram_to_ram(arguments[1], arguments[2]);
			}
			if (!strcmp("init", arguments[0])) {
				LOG_INF("DMA init device and channel");
				dma_init(arguments[1], arguments[2]);
			}
			break;
		case 0x010:
			if (!strcmp("flash", arguments[0])) {
				LOG_INF("Flash to RAM");
				dam_flash_to_ram(arguments[1], arguments[2], arguments[3]);
			}
			break;
		default:
			LOG_INF("Error command\n");
			break;
		}
	}
}

int dma_command(const struct shell *shell, size_t argc, char **argv)
{
	int i, evt;

	evt = 1;
	for (evt = 1, i = 1; i < argc; i++) {
		strcpy(arguments[i - 1], argv[i]);
		evt <<= 1;
	}
	k_event_post(&dma_event, evt);
	return 0;
}


void test_dma_init(void)
{
	LOG_INF("--- CI20 Zephyr DMA Driver Validation abc ---");
	for (int i = 0 ; i < NUM_DMA_DEVICE; i++) {
		if (!device_is_ready(dma_devices[i])) {
			LOG_ERR("dma device %s is not ready", dma_devices[i]->name);
			return;
		}
		LOG_INF("dma device [%d]:%s is ready", i, dma_devices[i]->name);
	}

	k_thread_create(&temp_id, temp_stack, TASK_STACK_SIZE, dma_validation_func,
		NULL, NULL, NULL, PRIORITY, K_INHERIT_PERMS, K_FOREVER);
	k_thread_name_set(&temp_id, "DMA Validation");
	k_thread_start(&temp_id);
}

SHELL_STATIC_SUBCMD_SET_CREATE(
	sub_dma, SHELL_CMD_ARG(c0, NULL, "dma c0", dma_command, 1, 0),
	SHELL_CMD_ARG(c1, NULL, "dma c1 arg0", dma_command, 2, 0),
	SHELL_CMD_ARG(c2, NULL, "dma c2 arg0 arg1", dma_command, 3, 0),
	SHELL_CMD_ARG(c3, NULL, "dma c3 arg0 arg1 arg2", dma_command, 4, 0),
	SHELL_CMD_ARG(c4, NULL, "dma c4 arg0 arg1 arg2 arg3", dma_command, 5, 0),
	SHELL_SUBCMD_SET_END /* Array terminated. */
);
SHELL_CMD_REGISTER(dma, &sub_dma, "nuvoton dma validation", NULL);
```

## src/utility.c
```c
#include <stdlib.h>

#include <zephyr/device.h>
#include <zephyr/drivers/dma.h>
#include <zephyr/kernel.h>
#include <zephyr/shell/shell.h>
#include <zephyr/random/rand32.h>
#include "../../zephyr/drivers/dma/dma_npcx.h"

#define LOG_LEVEL LOG_LEVEL_INF
#include <zephyr/logging/log.h>

static uint32_t src[TRANSFER_SIZE];
static uint32_t dst[TRANSFER_SIZE] __aligned(16);

static uint8_t testSetting;
static uint32_t ch, ram;
static void rand_setting_init(uint32_t mask)
{
	testSetting = sys_rand32_get() & mask;
	ch = testSetting & 0x01;
	ram = (testSetting >> 1) & 0x01;
}

uintptr_t align_up(uintptr_t addr, tw_set tws)
{
	uintptr_t mask = tws - 1;
	/* check power of two */
	if ((tws & mask) == 0) {
		return ((addr + mask) & ~mask);
	} else {
		return (((addr + mask) / tws) * tws);
	}
}

static void sync_data_transfer(char *option)
{
	uint8_t opt = atoi(option);
	const char tx_data[] __aligned(align_val) =
		"It is harder to be kind than to be wise........";
	char rx_data[48] __aligned(align_val) = { 0 };

	const char tx_data1[] __aligned(align_val) =
		"........wise be to than kind be to harder is It";
	char rx_data1[48] __aligned(align_val) = { 0 };

	const struct device *dev, *dev1;
	uint8_t dev1_channel, dev2_channel;

	switch (opt) {
	case 1:
		dev = dma_devices[0];
		dev1 = dma_devices[1];
		dev1_channel = 0;
		dev2_channel = 1;
		break;
	case 2:
		dev = dma_devices[0];
		dev1 = dma_devices[1];
		dev1_channel = 1;
		dev2_channel = 0;
		break;
	case 3:
		dev = dma_devices[0];
		dev1 = dma_devices[1];
		dev1_channel = dev2_channel = 0;
		break;
	case 4:
		dev = dma_devices[0];
		dev1 = dma_devices[1];
		dev1_channel = dev2_channel = 1;
		break;
	case 5:
		dev = dev1 = dma_devices[0];
		dev1_channel = 0;
		dev2_channel = 1;
		break;
	case 6:
		dev = dev1 = dma_devices[1];
		dev1_channel = 0;
		dev2_channel = 1;
		break;
	}

	memset(rx_data, 0, sizeof(rx_data));
	memset(rx_data1, 0, sizeof(rx_data1));

	dma_cfg.channel_direction = dma_cfg1.channel_direction = MEMORY_TO_MEMORY;
	dma_cfg.source_data_size = dma_cfg.dest_data_size = align_val;
	dma_cfg1.source_data_size = dma_cfg1.dest_data_size = align_val;

	dma_block_cfg.block_size = sizeof(tx_data);
	dma_block_cfg1.block_size = sizeof(tx_data1);

	dma_block_cfg.source_address = (uint32_t)tx_data;
	dma_block_cfg.dest_address = (uint32_t)rx_data;
	dma_cfg.head_block = &dma_block_cfg;
	dma_cfg.dma_callback = cb_data_check;

	dma_block_cfg1.source_address = (uint32_t)tx_data1;
	dma_block_cfg1.dest_address = (uint32_t)rx_data1;
	dma_cfg1.head_block = &dma_block_cfg1;
	dma_cfg1.dma_callback = cb_data_check;

	if (dma_config(dev, dev1_channel, &dma_cfg)) {
		LOG_INF("ERROR: configure\n");
		return;
	}
	if (dma_config(dev1, dev2_channel, &dma_cfg1)) {
		LOG_INF("ERROR: configure\n");
		return;
	}
	if (dma_start(dev, dev1_channel)) {
		LOG_INF("ERROR: transfer\n");
		return;
	}
	if (dma_start(dev1, dev2_channel)) {
		LOG_INF("ERROR: transfer\n");
		return;
	}
	check_char_data(tx_data, rx_data, 1);
	check_char_data(tx_data1, rx_data1, 1);

}
```
